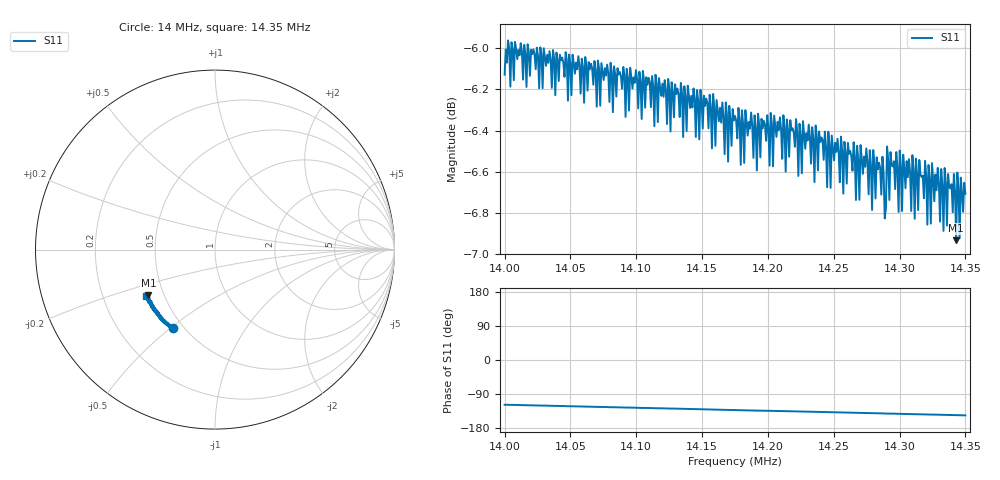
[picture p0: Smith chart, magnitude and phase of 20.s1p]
# Hz S RI R 50
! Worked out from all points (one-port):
!   401 points, 14 MHz to 14.35 MHz, reference 50 ohm
!   lowest |S11| = -6.9 dB at 14.343 MHz (marker M1), VSWR 2.64, Z = 20.5 - j13.1 ohm
!   |S11| at or under -10 dB: nowhere
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1.4e7  -0.2337 -0.435
1.400962e7  -0.2399 -0.4366
1.401488e7  -0.2438 -0.439
1.404375e7  -0.2598 -0.4255
1.4049e7  -0.2634 -0.4243
1.405338e7  -0.2641 -0.4176
1.407088e7  -0.2752 -0.4147
1.40875e7  -0.283 -0.4056
1.413125e7  -0.3047 -0.3838
1.416362e7  -0.3186 -0.3654
1.4168e7  -0.3222 -0.3641
1.4175e7  -0.3233 -0.3582
1.418988e7  -0.3309 -0.3515
1.421875e7  -0.3411 -0.3366
1.4224e7  -0.3446 -0.3348
1.422838e7  -0.3422 -0.3276
1.424588e7  -0.3532 -0.3225
1.42625e7  -0.3567 -0.3109
1.426775e7  -0.36 -0.3092
1.428612e7  -0.3571 -0.2927
1.428788e7  -0.3626 -0.2949
1.429225e7  -0.3603 -0.2866
1.430012e7  -0.3733 -0.2909
1.430625e7  -0.3695 -0.2844
1.4322e7  -0.379 -0.277
1.4343e7  -0.3708 -0.2552
1.434388e7  -0.3857 -0.2642
1.435e7  -0.3835 -0.2577
